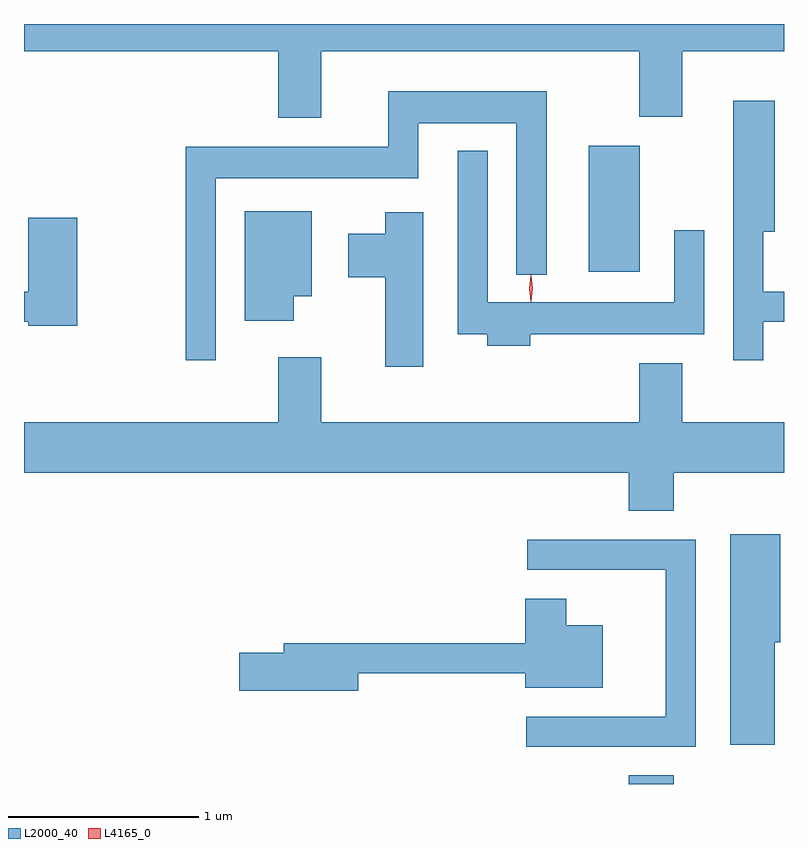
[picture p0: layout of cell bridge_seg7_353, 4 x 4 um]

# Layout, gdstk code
import gdstk
lib = gdstk.Library(unit=1e-6, precision=1e-09)
def R(c, l, rs):  # rectangles x0, y0, x1, y1
    for r in rs: c.add(gdstk.rectangle(r[:2], r[2:], *l))
def P(c, l, *ps):  # polygons
    for p in ps: c.add(gdstk.Polygon(p, *l))
L2000_40 = (2000, 40)
L4165_0 = (4165, 0)

bridge_seg7_353 = lib.new_cell('bridge_seg7_353')
R(bridge_seg7_353, L2000_40, [(1199.296,1772.619,1199.534,1772.664), (1199.086,1775.316,1199.354,1775.979)])
P(bridge_seg7_353, L2000_40, [(1197.679,1776.476),(1199.351,1776.476),(1199.351,1776.131),(1199.579,1776.131),(1199.579,1776.476),(1200.114,1776.476),(1200.114,1776.619),(1196.114,1776.619),(1196.114,1776.476),(1197.451,1776.476),(1197.451,1776.126),(1197.679,1776.126)],
  [(1197.124,1775.806),(1198.189,1775.806),(1198.189,1776.096),(1198.706,1776.096),(1198.706,1775.298),(1198.864,1775.298),(1198.864,1776.264),(1198.031,1776.264),(1198.031,1775.974),(1196.966,1775.974),(1196.966,1774.848),(1197.124,1774.848)],
  [(1200.004,1775.051),(1200.114,1775.051),(1200.114,1775.209),(1200.004,1775.209),(1200.004,1775.526),(1200.064,1775.526),(1200.064,1776.214),(1199.846,1776.214),(1199.846,1774.848),(1200.004,1774.848)],
  [(1198.779,1774.986),(1199.694,1774.986),(1199.694,1775.533),(1199.536,1775.533),(1199.536,1775.154),(1198.554,1775.154),(1198.554,1775.953),(1198.396,1775.953),(1198.396,1774.986),(1198.551,1774.986),(1198.551,1774.926),(1198.779,1774.926)],
  [(1197.534,1775.186),(1197.629,1775.186),(1197.629,1775.634),(1197.276,1775.634),(1197.276,1775.056),(1197.534,1775.056)],
  [(1198.214,1775.629),(1198.016,1775.629),(1198.016,1775.514),(1197.821,1775.514),(1197.821,1775.286),(1198.016,1775.286),(1198.016,1774.816),(1198.214,1774.816)],
  [(1196.394,1775.599),(1196.136,1775.599),(1196.136,1775.209),(1196.114,1775.209),(1196.114,1775.051),(1196.136,1775.051),(1196.136,1775.031),(1196.394,1775.031)],
  [(1199.534,1774.256),(1200.114,1774.256),(1200.114,1774.524),(1199.579,1774.524),(1199.579,1774.834),(1199.351,1774.834),(1199.351,1774.524),(1197.679,1774.524),(1197.679,1774.864),(1197.451,1774.864),(1197.451,1774.524),(1196.114,1774.524),(1196.114,1774.256),(1199.296,1774.256),(1199.296,1774.056),(1199.534,1774.056)],
  [(1200.064,1773.366),(1200.094,1773.366),(1200.094,1773.934),(1199.831,1773.934),(1199.831,1772.826),(1200.064,1772.826)],
  [(1199.649,1773.904),(1198.763,1773.904),(1198.763,1773.746),(1199.491,1773.746),(1199.491,1772.974),(1198.758,1772.974),(1198.758,1772.816),(1199.649,1772.816)],
  [(1197.874,1773.201),(1198.751,1773.201),(1198.751,1773.126),(1199.159,1773.126),(1199.159,1773.454),(1198.969,1773.454),(1198.969,1773.594),(1198.751,1773.594),(1198.751,1773.359),(1197.481,1773.359),(1197.481,1773.309),(1197.246,1773.309),(1197.246,1773.111),(1197.874,1773.111)])
P(bridge_seg7_353, L4165_0, [(1198.782,1775.157),(1198.782,1775.157),(1198.772,1775.227),(1198.782,1775.296),(1198.782,1775.296),(1198.783,1775.296),(1198.792,1775.227),(1198.783,1775.157)],
  [(1198.782,1775.159),(1198.782,1775.16),(1198.772,1775.226),(1198.782,1775.293),(1198.782,1775.293),(1198.782,1775.293),(1198.792,1775.226),(1198.782,1775.16)])

lib.write_gds('bridge_seg7_353.gds')
